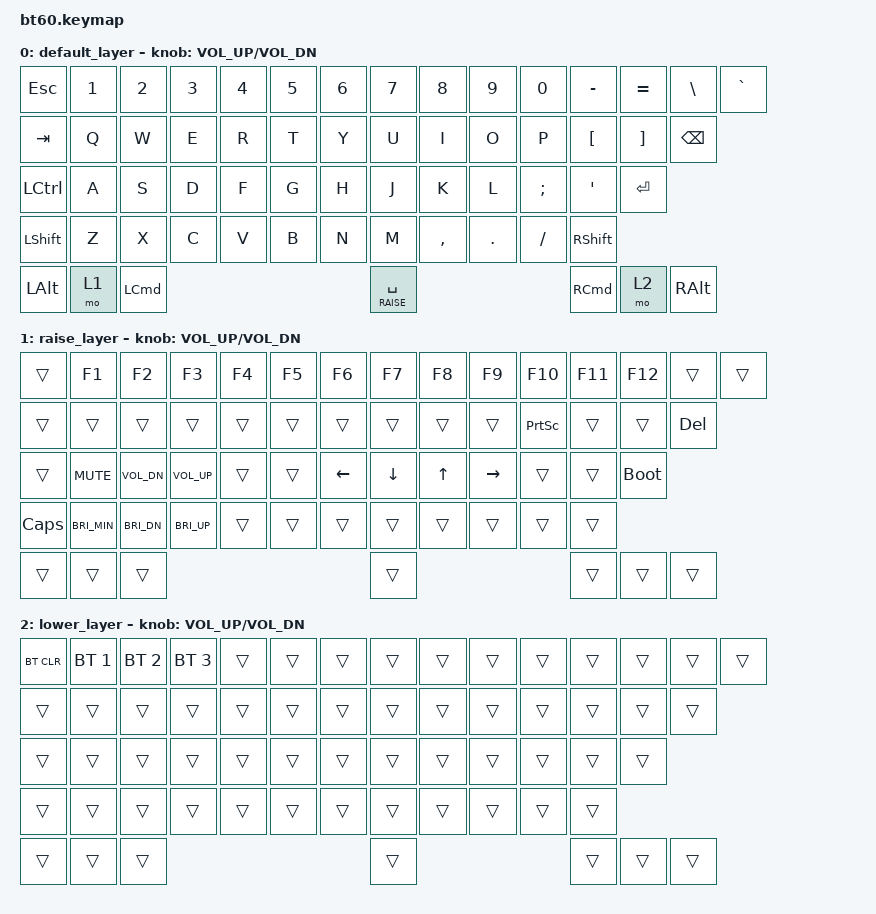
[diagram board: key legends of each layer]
#include <behaviors.dtsi>
#include <dt-bindings/zmk/keys.h>
#include <dt-bindings/zmk/bt.h>

#define DEFAULT 0
#define RAISE   1
#define LOWER	2

/ {
	keymap {
		compatible = "zmk,keymap";

		default_layer {
			bindings = <
				&kp ESC       &kp N1          &kp N2          &kp N3        &kp N4    &kp N5    &kp N6    &kp N7    &kp  N8      &kp  N9     &kp  N0       &kp MINUS     &kp EQUAL          &kp BSLH    &kp GRAVE
				&kp TAB       &kp Q           &kp W           &kp E         &kp R     &kp T     &kp Y     &kp U     &kp  I       &kp  O      &kp  P        &kp LBKT      &kp RBKT           &kp BSPC
				&kp LCTRL     &kp A           &kp S           &kp D         &kp F     &kp G     &kp H     &kp J     &kp  K       &kp  L      &kp SEMI      &kp SQT       &kp RET
				&kp LSHFT     &kp Z           &kp X           &kp C         &kp V     &kp B     &kp N     &kp M     &kp COMMA    &kp DOT     &kp FSLH      &kp RSHFT     
				&kp LALT      &mo 1           &kp LCMD                                                    &lt RAISE SPACE                                  &kp RCMD      &mo 2              &kp RALT
			>;
			sensor-bindings = <&inc_dec_kp C_VOL_UP C_VOL_DN>;
		};
		raise_layer {
			bindings = <
				&trans        &kp F1          &kp F2          &kp F3        &kp F4    &kp F5    &kp F6    &kp F7    &kp F8       &kp F9      &kp F10       &kp F11       &kp F12            &trans      &trans
				&trans        &trans          &trans          &trans        &trans    &trans    &trans    &trans    &trans       &trans      &kp PSCRN     &trans        &trans             &kp DEL
				&trans        &kp C_MUTE      &kp C_VOL_DN    &kp C_VOL_UP  &trans    &trans    &kp LEFT  &kp DOWN  &kp UP       &kp RIGHT   &trans        &trans        &bootloader
				&kp CAPS      &kp C_BRI_MIN   &kp C_BRI_DN    &kp C_BRI_UP  &trans    &trans    &trans    &trans    &trans       &trans      &trans        &trans
				&trans        &trans          &trans                                                      &trans                                           &trans        &trans             &trans
			>;
			sensor-bindings = <&inc_dec_kp C_VOL_UP C_VOL_DN>;
		};
		lower_layer {
			bindings = <
				&bt BT_CLR    &bt BT_SEL 1    &bt BT_SEL 2    &bt BT_SEL 3  &trans    &trans    &trans    &trans    &trans       &trans      &trans        &trans        &trans             &trans      &trans
				&trans        &trans          &trans          &trans        &trans    &trans    &trans    &trans    &trans       &trans      &trans        &trans        &trans             &trans
				&trans        &trans          &trans          &trans        &trans    &trans    &trans    &trans    &trans       &trans      &trans        &trans        &trans
				&trans        &trans          &trans          &trans        &trans    &trans    &trans    &trans    &trans       &trans      &trans        &trans
				&trans        &trans          &trans                                                      &trans                                           &trans        &trans             &trans
			>;
			sensor-bindings = <&inc_dec_kp C_VOL_UP C_VOL_DN>;
		};
	};
};
